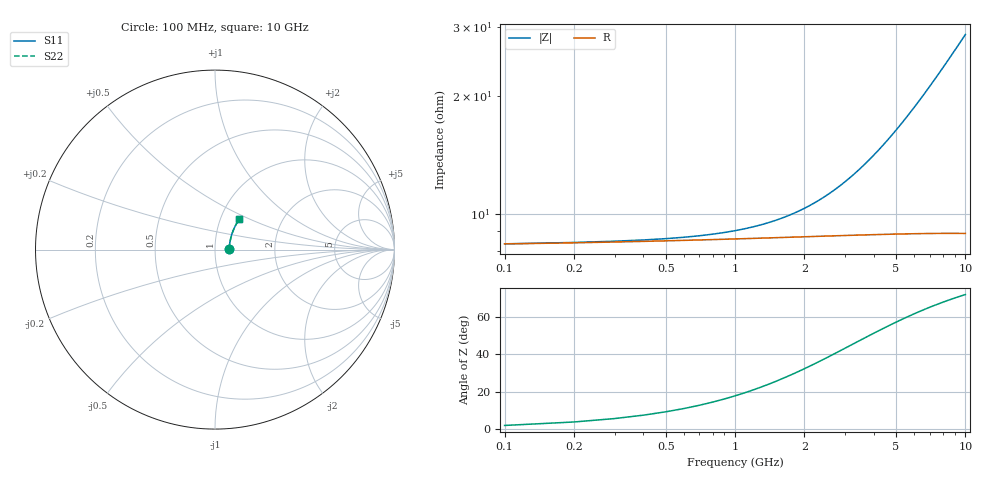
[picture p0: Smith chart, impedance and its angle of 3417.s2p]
# Hz S RI R 50.00
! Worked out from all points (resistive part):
!   100 points, 100 MHz to 10 GHz, reference 50 ohm
!   read as one part in series: R = 8.36 ohm at 100 MHz
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1e8  0.0772 0.00187  0.9228 -0.00281  0.9228 -0.00281  0.0772 0.00187
2e8  0.0776 0.00373  0.9224 -0.00562  0.9224 -0.00562  0.0776 0.00373
7e8  0.0791 0.013  0.9209 -0.0196  0.9209 -0.0196  0.0791 0.013
1e9  0.0798 0.0185  0.9201 -0.028  0.9201 -0.028  0.0798 0.0185
1.2e9  0.0803 0.0222  0.9196 -0.0336  0.9196 -0.0336  0.0803 0.0222
1.4e9  0.0808 0.0259  0.919 -0.0392  0.919 -0.0392  0.0808 0.0259
1.8e9  0.0819 0.0332  0.9179 -0.0503  0.9179 -0.0503  0.0819 0.0332
2.1e9  0.0828 0.0387  0.917 -0.0586  0.917 -0.0586  0.0828 0.0387
2.5e9  0.0841 0.046  0.9156 -0.0697  0.9156 -0.0697  0.0841 0.046
2.9e9  0.0856 0.0532  0.914 -0.0807  0.914 -0.0807  0.0856 0.0532
3.4e9  0.0876 0.0622  0.9118 -0.0945  0.9118 -0.0945  0.0876 0.0622
4.4e9  0.0923 0.0799  0.9067 -0.1217  0.9067 -0.1217  0.0923 0.0799
5.1e9  0.0963 0.0921  0.9025 -0.1405  0.9025 -0.1405  0.0963 0.0921
5.9e9  0.1013 0.1058  0.897 -0.1618  0.897 -0.1618  0.1013 0.1058
6.3e9  0.1041 0.1125  0.894 -0.1723  0.894 -0.1723  0.1041 0.1125
6.7e9  0.107 0.1192  0.8909 -0.1828  0.8909 -0.1828  0.107 0.1192
7.1e9  0.11 0.1257  0.8876 -0.1931  0.8876 -0.1931  0.11 0.1257
7.5e9  0.1132 0.1322  0.8841 -0.2034  0.8841 -0.2034  0.1132 0.1322
7.9e9  0.1166 0.1385  0.8805 -0.2136  0.8805 -0.2136  0.1166 0.1385
8.4e9  0.121 0.1464  0.8757 -0.2262  0.8757 -0.2262  0.121 0.1464
9.2e9  0.1284 0.1586  0.8676 -0.246  0.8676 -0.246  0.1284 0.1586
1e10  0.1364 0.1703  0.8589 -0.2654  0.8589 -0.2654  0.1364 0.1703
